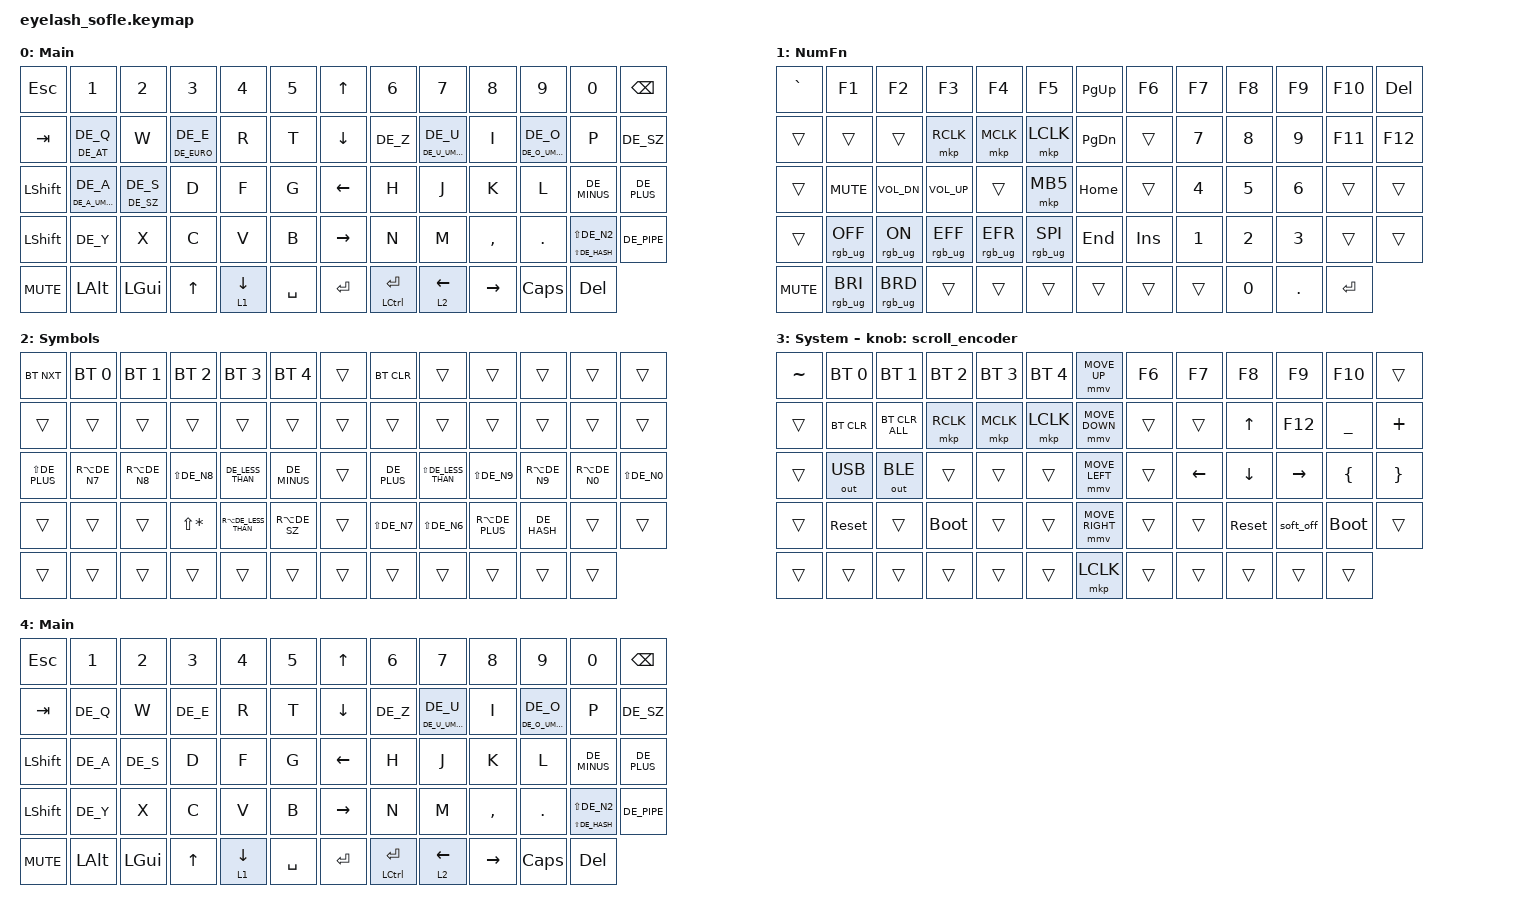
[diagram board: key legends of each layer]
#define ZMK_POINTING_DEFAULT_MOVE_VAL 1200  // 600
#define ZMK_POINTING_DEFAULT_SCRL_VAL 25   // 10

#include <input/processors.dtsi>
#include <zephyr/dt-bindings/input/input-event-codes.h>
#include <behaviors.dtsi>
#include <dt-bindings/zmk/bt.h>
#include <dt-bindings/zmk/keys.h>
#include <dt-bindings/zmk/outputs.h>
#include <dt-bindings/zmk/pointing.h>
#include <dt-bindings/zmk/rgb.h>
#include "keys_de.h"

&mmv_input_listener { input-processors = <&zip_xy_scaler 2 1>; };

&msc_input_listener { input-processors = <&zip_scroll_scaler 2 1>; };

&msc {
    acceleration-exponent = <1>;      // 0
    time-to-max-speed-ms = <100>;       // 300
    delay-ms = <0>;                   // 0
};

&mmv {
    time-to-max-speed-ms = <500>;
    acceleration-exponent = <1>;
    trigger-period-ms = <16>;
};

&mt {
    flavor = "tap-preferred";
    tapping-term-ms = <275>;
    quick-tap-ms = <150>;
};

/ {
    scroll_encoder: scroll_encoder {
        compatible = "zmk,behavior-sensor-rotate";
        #sensor-binding-cells = <0>;
        bindings = <&msc SCRL_DOWN>, <&msc SCRL_UP>;

        tap-ms = <100>;
    };

    behaviors {
    };

    keymap {
        compatible = "zmk,keymap";

        layer0 {
            bindings = <
&kp ESCAPE      &kp N1                &kp N2          &kp N3            &kp N4      &kp N5       &kp UP_ARROW     &kp N6           &kp N7                &kp N8     &kp N9                &kp N0                     &kp BACKSPACE
&kp TAB         &mt DE_AT DE_Q        &kp W           &mt DE_EURO DE_E  &kp R       &kp T        &kp DOWN_ARROW   &kp DE_Z         &mt DE_U_UMLAUT DE_U  &kp I      &mt DE_O_UMLAUT DE_O  &kp P                      &kp DE_SZ
&kp LEFT_SHIFT  &mt DE_A_UMLAUT DE_A  &mt DE_SZ DE_S  &kp D             &kp F       &kp G        &kp LEFT_ARROW   &kp H            &kp J                 &kp K      &kp L                 &kp DE_MINUS               &kp DE_PLUS
&kp LEFT_SHIFT  &kp DE_Y              &kp X           &kp C             &kp V       &kp B        &kp RIGHT_ARROW  &kp N            &kp M                 &kp COMMA  &kp DOT               &mt LS(DE_HASH) LS(DE_N2)  &kp DE_PIPE
&kp C_MUTE      &kp LEFT_ALT          &kp LEFT_GUI    &kp UP            &lt 1 DOWN  &kp SPACE    &kp ENTER        &mt LCTRL ENTER  &lt 2 LEFT_ARROW      &kp RIGHT  &kp CAPSLOCK          &kp DELETE
            >;

            display-name = "Main";
        };

        layer_1 {
            bindings = <
&kp GRAVE   &kp F1           &kp F2           &kp F3           &kp F4           &kp F5             &kp PG_UP  &kp F6   &kp F7  &kp F8  &kp F9   &kp F10    &kp DELETE
&trans      &trans           &trans           &mkp RCLK        &mkp MCLK        &mkp LCLK          &kp PG_DN  &trans   &kp N7  &kp N8  &kp N9   &kp F11    &kp F12
&trans      &kp C_MUTE       &kp C_VOL_DN     &kp C_VOL_UP     &trans           &mkp MB5           &kp HOME   &trans   &kp N4  &kp N5  &kp N6   &trans     &trans
&trans      &rgb_ug RGB_OFF  &rgb_ug RGB_ON   &rgb_ug RGB_EFF  &rgb_ug RGB_EFR  &rgb_ug RGB_SPI    &kp END    &kp INS  &kp N1  &kp N2  &kp N3   &trans     &trans
&kp C_MUTE  &rgb_ug RGB_BRI  &rgb_ug RGB_BRD  &trans           &trans           &trans             &trans     &trans   &trans  &kp N0  &kp DOT  &kp ENTER
            >;

            display-name = "NumFn";
        };

        layer_2 {
            bindings = <
&bt BT_NXT       &bt BT_SEL 0   &bt BT_SEL 1   &bt BT_SEL 2   &bt BT_SEL 3          &bt BT_SEL 4     &trans  &bt BT_CLR     &trans                &trans           &trans         &trans         &trans
&trans           &trans         &trans         &trans         &trans                &trans           &trans  &trans         &trans                &trans           &trans         &trans         &trans
&kp LS(DE_PLUS)  &kp RA(DE_N7)  &kp RA(DE_N8)  &kp LS(DE_N8)  &kp DE_LESS_THAN      &kp DE_MINUS     &trans  &kp DE_PLUS    &kp LS(DE_LESS_THAN)  &kp LS(DE_N9)    &kp RA(DE_N9)  &kp RA(DE_N0)  &kp LS(DE_N0)
&trans           &trans         &trans         &kp LS(STAR)   &kp RA(DE_LESS_THAN)  &kp RA(DE_SZ)    &trans  &kp LS(DE_N7)  &kp LS(DE_N6)         &kp RA(DE_PLUS)  &kp DE_HASH    &trans         &trans
&trans           &trans         &trans         &trans         &trans                &trans           &trans  &trans         &trans                &trans           &trans         &trans
            >;

            display-name = "Symbols";
        };

        layer_3 {
            bindings = <
&kp TILDE  &bt BT_SEL 0  &bt BT_SEL 1    &bt BT_SEL 2  &bt BT_SEL 3  &bt BT_SEL 4    &mmv MOVE_UP     &kp F6  &kp F7          &kp F8          &kp F9           &kp F10      &trans
&trans     &bt BT_CLR    &bt BT_CLR_ALL  &mkp RCLK     &mkp MCLK     &mkp LCLK       &mmv MOVE_DOWN   &trans  &trans          &kp UP_ARROW    &kp F12          &kp UNDER    &kp PLUS
&trans     &out OUT_USB  &out OUT_BLE    &trans        &trans        &trans          &mmv MOVE_LEFT   &trans  &kp LEFT_ARROW  &kp DOWN_ARROW  &kp RIGHT_ARROW  &kp LBRC     &kp RBRC
&trans     &sys_reset    &trans          &bootloader   &trans        &trans          &mmv MOVE_RIGHT  &trans  &trans          &sys_reset      &soft_off        &bootloader  &trans
&trans     &trans        &trans          &trans        &trans        &trans          &mkp LCLK        &trans  &trans          &trans          &trans           &trans
            >;

            display-name = "System";
            sensor-bindings = <&scroll_encoder>;
        };

        layer_5 {
            display-name = "Main";
            bindings = <
&kp ESCAPE      &kp N1        &kp N2        &kp N3    &kp N4      &kp N5       &kp UP_ARROW     &kp N6           &kp N7                &kp N8     &kp N9                &kp N0                     &kp BACKSPACE
&kp TAB         &kp DE_Q      &kp W         &kp DE_E  &kp R       &kp T        &kp DOWN_ARROW   &kp DE_Z         &mt DE_U_UMLAUT DE_U  &kp I      &mt DE_O_UMLAUT DE_O  &kp P                      &kp DE_SZ
&kp LEFT_SHIFT  &kp DE_A      &kp DE_S      &kp D     &kp F       &kp G        &kp LEFT_ARROW   &kp H            &kp J                 &kp K      &kp L                 &kp DE_MINUS               &kp DE_PLUS
&kp LEFT_SHIFT  &kp DE_Y      &kp X         &kp C     &kp V       &kp B        &kp RIGHT_ARROW  &kp N            &kp M                 &kp COMMA  &kp DOT               &mt LS(DE_HASH) LS(DE_N2)  &kp DE_PIPE
&kp C_MUTE      &kp LEFT_ALT  &kp LEFT_GUI  &kp UP    &lt 1 DOWN  &kp SPACE    &kp ENTER        &mt LCTRL ENTER  &lt 2 LEFT_ARROW      &kp RIGHT  &kp CAPSLOCK          &kp DELETE
            >;

            label = "Game";
        };
    };
};
